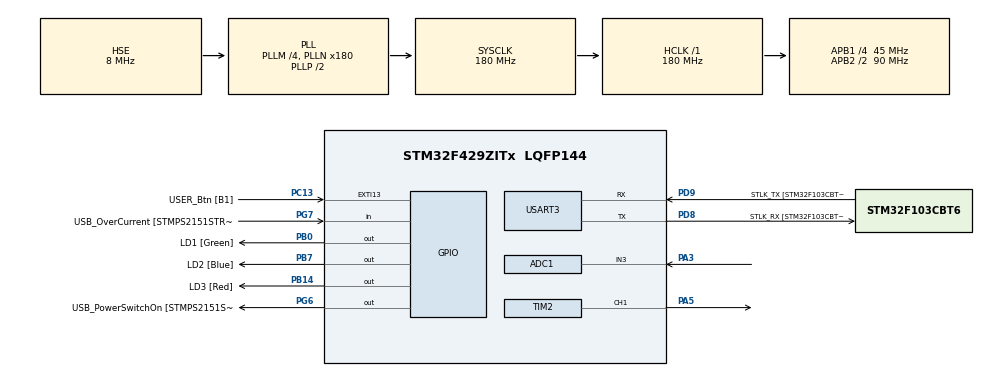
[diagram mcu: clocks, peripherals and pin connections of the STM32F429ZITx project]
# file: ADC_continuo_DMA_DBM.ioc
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ADC1.Channel-1\#ChannelRegularConversion=ADC_CHANNEL_3
ADC1.ClockPrescaler=ADC_CLOCK_SYNC_PCLK_DIV8
ADC1.ContinuousConvMode=ENABLE
ADC1.DMAContinuousRequests=ENABLE
ADC1.InjNumberOfConversion=0
ADC1.NbrOfConversion=1
ADC1.NbrOfConversionFlag=1
ADC1.Rank-1\#ChannelRegularConversion=1
ADC1.SamplingTime-1\#ChannelRegularConversion=ADC_SAMPLETIME_480CYCLES
ADC1.master=1
Dma.ADC1.0.Direction=DMA_PERIPH_TO_MEMORY
Dma.ADC1.0.FIFOMode=DMA_FIFOMODE_DISABLE
Dma.ADC1.0.Instance=DMA2_Stream0
Dma.ADC1.0.MemDataAlignment=DMA_MDATAALIGN_HALFWORD
Dma.ADC1.0.MemInc=DMA_MINC_ENABLE
Dma.ADC1.0.Mode=DMA_CIRCULAR
Dma.ADC1.0.PeriphDataAlignment=DMA_PDATAALIGN_HALFWORD
Dma.ADC1.0.PeriphInc=DMA_PINC_DISABLE
Dma.ADC1.0.Priority=DMA_PRIORITY_LOW
Dma.Request0=ADC1
Mcu.Family=STM32F4
Mcu.Name=STM32F429ZITx
Mcu.Package=LQFP144
NVIC.ADC_IRQn=true\:0\:0\:false\:false\:true\:true\:true\:true
NVIC.DMA2_Stream0_IRQn=true\:0\:0\:false\:false\:true\:false\:true\:true
NVIC.PriorityGroup=NVIC_PRIORITYGROUP_4
PA1.GPIO_Label=RMII_REF_CLK [LAN8742A-CZ-TR_REFCLK0]
PA1.Signal=ETH_REF_CLK
PA10.GPIO_Label=USB_ID
PA10.Signal=USB_OTG_FS_ID
PA11.GPIO_Label=USB_DM
PA11.Signal=USB_OTG_FS_DM
PA12.GPIO_Label=USB_DP
PA12.Signal=USB_OTG_FS_DP
PA13.GPIO_Label=TMS
PA13.Mode=Serial_Wire
PA13.Signal=SYS_JTMS-SWDIO
PA14.GPIO_Label=TCK
PA14.Mode=Serial_Wire
PA14.Signal=SYS_JTCK-SWCLK
PA2.GPIO_Label=RMII_MDIO [LAN8742A-CZ-TR_MDIO]
PA2.Signal=ETH_MDIO
PA3.Signal=ADCx_IN3
PA5.Signal=S_TIM2_CH1_ETR
PA7.GPIO_Label=RMII_CRS_DV [LAN8742A-CZ-TR_CRS_DV]
PA7.Signal=ETH_CRS_DV
PA8.GPIO_Label=USB_SOF [TP1]
PA8.Signal=USB_OTG_FS_SOF
PA9.GPIO_Label=USB_VBUS
PA9.Signal=USB_OTG_FS_VBUS
PB0.GPIO_Label=LD1 [Green]
PB0.Signal=GPIO_Output
PB13.GPIO_Label=RMII_TXD1 [LAN8742A-CZ-TR_TXD1]
PB13.Signal=ETH_TXD1
PB14.GPIO_Label=LD3 [Red]
PB14.Signal=GPIO_Output
PB7.GPIO_Label=LD2 [Blue]
PB7.Signal=GPIO_Output
PC1.GPIO_Label=RMII_MDC [LAN8742A-CZ-TR_MDC]
PC1.Signal=ETH_MDC
PC13.GPIO_Label=USER_Btn [B1]
PC13.Signal=GPXTI13
PC14/OSC32_IN.Mode=LSE-External-Oscillator
PC14/OSC32_IN.Signal=RCC_OSC32_IN
PC15/OSC32_OUT.Mode=LSE-External-Oscillator
PC15/OSC32_OUT.Signal=RCC_OSC32_OUT
PC4.GPIO_Label=RMII_RXD0 [LAN8742A-CZ-TR_RXD0]
PC4.Signal=ETH_RXD0
PC5.GPIO_Label=RMII_RXD1 [LAN8742A-CZ-TR_RXD1]
PC5.Signal=ETH_RXD1
PD8.GPIO_Label=STLK_RX [STM32F103CBT6_PA3]
PD8.Mode=Asynchronous
PD8.Signal=USART3_TX
PD9.GPIO_Label=STLK_TX [STM32F103CBT6_PA2]
PD9.Mode=Asynchronous
PD9.Signal=USART3_RX
PG11.GPIO_Label=RMII_TX_EN [LAN8742A-CZ-TR_TXEN]
PG11.Signal=ETH_TX_EN
PG13.GPIO_Label=RMII_TXD0 [LAN8742A-CZ-TR_TXD0]
PG13.Signal=ETH_TXD0
PG6.GPIO_Label=USB_PowerSwitchOn [STMPS2151STR_EN]
PG6.Signal=GPIO_Output
PG7.GPIO_Label=USB_OverCurrent [STMPS2151STR_FAULT]
PG7.Signal=GPIO_Input
PH0/OSC_IN.GPIO_Label=MCO [STM32F103CBT6_PA8]
PH0/OSC_IN.Mode=HSE-External-Oscillator
PH0/OSC_IN.Signal=RCC_OSC_IN
PH1/OSC_OUT.Mode=HSE-External-Oscillator
PH1/OSC_OUT.Signal=RCC_OSC_OUT
ProjectManager.HeapSize=0x200
ProjectManager.StackSize=0x400
ProjectManager.TargetToolchain=STM32CubeIDE
RCC.48MHZClocksFreq_Value=51428571.428571425
RCC.AHBFreq_Value=180000000
RCC.APB1CLKDivider=RCC_HCLK_DIV4
RCC.APB1Freq_Value=45000000
RCC.APB1TimFreq_Value=90000000
RCC.APB2CLKDivider=RCC_HCLK_DIV2
RCC.APB2Freq_Value=90000000
RCC.APB2TimCLKDivider=2
RCC.APB2TimFreq_Value=180000000
RCC.CortexFreq_Value=180000000
RCC.HCLKFreq_Value=180000000
RCC.HSE_VALUE=8000000
RCC.HSI_VALUE=16000000
RCC.PLLM=4
RCC.PLLMUL=RCC_PLL_MUL9
RCC.PLLN=180
RCC.PLLQ=7
RCC.PLLSourceVirtual=RCC_PLLSOURCE_HSE
RCC.PRESCALERUSB=RCC_USBCLKSOURCE_PLL_DIV1_5
RCC.SYSCLKFreq_VALUE=180000000
RCC.SYSCLKSource=RCC_SYSCLKSOURCE_PLLCLK
RCC.SYSCLKSourceVirtual=RCC_SYSCLKSOURCE_PLLCLK
RCC.USBFreq_Value=48000000
RCC.VCOOutputFreq_Value=360000000
SH.ADCx_IN3.0=ADC1_IN3,IN3
SH.S_TIM2_CH1_ETR.0=TIM2_CH1,PWM Generation1 CH1
TIM2.AutoReloadPreload=TIM_AUTORELOAD_PRELOAD_ENABLE
TIM2.Channel-PWM\ Generation1\ CH1=TIM_CHANNEL_1
TIM2.Period=65535
TIM2.Prescaler=1
USART3.VirtualMode=VM_ASYNC
VP_TIM2_VS_ClockSourceINT.Mode=Internal
board=NUCLEO-F429ZI

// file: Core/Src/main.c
/* USER CODE BEGIN Header */
/**
  ******************************************************************************
  * @file           : main.c
  * @brief          : Ejemplo de ADC continuo solicitado por encuesta
  *                   (No veo diferencia entre continuo y único)
  ******************************************************************************
  *
  * El ejemplo se desarrolló en base a:
  * https://deepbluembedded.com/stm32-adc-read-example-dma-interrupt-polling/
  *
  ******************************************************************************
  */
/* USER CODE END Header */
#include "main.h"

/* USER CODE BEGIN Includes */
#include "uOSAL.h"

/* USER CODE END Includes */

/* USER CODE BEGIN PM */
#define DELTA    1000
#define MUESTRAS 100

/* USER CODE END PM */

ADC_HandleTypeDef hadc1;
DMA_HandleTypeDef hdma_adc1;

TIM_HandleTypeDef htim2;

UART_HandleTypeDef huart3;

/* USER CODE BEGIN PV */
uint16_t AD_RES [MUESTRAS] = {0};

/* USER CODE END PV */

void SystemClock_Config(void);
static void MX_GPIO_Init(void);
static void MX_DMA_Init(void);
static void MX_USART3_UART_Init(void);
static void MX_ADC1_Init(void);
static void MX_TIM2_Init(void);

int main(void)
{

  /* MCU Configuration--------------------------------------------------------*/

  /* Reset of all peripherals, Initializes the Flash interface and the Systick. */
  HAL_Init();

  /* Configure the system clock */
  SystemClock_Config();

  /* Initialize all configured peripherals */
  MX_GPIO_Init();
  MX_DMA_Init();
  MX_USART3_UART_Init();
  MX_ADC1_Init();
  MX_TIM2_Init();
  /* USER CODE BEGIN 2 */
  //-----------------------------------------------------------------------------------------------
  uint32_t Tiempo_ms = uOSALmiliseg ();
  uartInit();

  GPIO_InitTypeDef  GPIO_InitStruct;
  GPIO_InitStruct.Pin = GPIO_PIN_0;
  GPIO_InitStruct.Mode = GPIO_MODE_OUTPUT_PP;
  GPIO_InitStruct.Pull = GPIO_NOPULL;
  GPIO_InitStruct.Speed = GPIO_SPEED_FAST;
  HAL_GPIO_Init(GPIOA, &GPIO_InitStruct);

  HAL_TIM_PWM_Start(&htim2, TIM_CHANNEL_1);
  HAL_ADC_Start_DMA(&hadc1, (uint32_t *) AD_RES, MUESTRAS);  // Inicia la conversión continua del ADC

  //-----------------------------------------------------------------------------------------------
  /* USER CODE END 2 */

  /* Infinite loop */
  while (1)
  {

    /* USER CODE BEGIN 3 */
	//---------------------------------------------------------------------------------------------

	// Evalúo si envío a UART
	if (uOSALmiliseg ()-Tiempo_ms > DELTA) {
		Tiempo_ms += DELTA;
		uEscribirTexto ("\n\rLectura: \n\r");

		int j=0;
		for (int i=0; i<MUESTRAS; i++) {
			if (j>=10) {
				uEscribirTexto ("\n\r");
				j=0;
			}
			uEscribirEnteroSS ( AD_RES[i] & 0xFFFF );
			uEscribirTexto ("; ");
			j++;
		}
		uEscribirTexto ("\n\r");
	}

  }
  //-----------------------------------------------------------------------------------------------
  /* USER CODE END 3 */
}

void SystemClock_Config(void)
{
  RCC_OscInitTypeDef RCC_OscInitStruct = {0};
  RCC_ClkInitTypeDef RCC_ClkInitStruct = {0};

  /** Configure the main internal regulator output voltage
  */
  __HAL_RCC_PWR_CLK_ENABLE();
  __HAL_PWR_VOLTAGESCALING_CONFIG(PWR_REGULATOR_VOLTAGE_SCALE1);

  /** Initializes the RCC Oscillators according to the specified parameters
  * in the RCC_OscInitTypeDef structure.
  */
  RCC_OscInitStruct.OscillatorType = RCC_OSCILLATORTYPE_HSE;
  RCC_OscInitStruct.HSEState = RCC_HSE_ON;
  RCC_OscInitStruct.PLL.PLLState = RCC_PLL_ON;
  RCC_OscInitStruct.PLL.PLLSource = RCC_PLLSOURCE_HSE;
  RCC_OscInitStruct.PLL.PLLM = 4;
  RCC_OscInitStruct.PLL.PLLN = 180;
  RCC_OscInitStruct.PLL.PLLP = RCC_PLLP_DIV2;
  RCC_OscInitStruct.PLL.PLLQ = 7;
  if (HAL_RCC_OscConfig(&RCC_OscInitStruct) != HAL_OK)
  {
    Error_Handler();
  }

  /** Activate the Over-Drive mode
  */
  if (HAL_PWREx_EnableOverDrive() != HAL_OK)
  {
    Error_Handler();
  }

  /** Initializes the CPU, AHB and APB buses clocks
  */
  RCC_ClkInitStruct.ClockType = RCC_CLOCKTYPE_HCLK|RCC_CLOCKTYPE_SYSCLK
                              |RCC_CLOCKTYPE_PCLK1|RCC_CLOCKTYPE_PCLK2;
  RCC_ClkInitStruct.SYSCLKSource = RCC_SYSCLKSOURCE_PLLCLK;
  RCC_ClkInitStruct.AHBCLKDivider = RCC_SYSCLK_DIV1;
  RCC_ClkInitStruct.APB1CLKDivider = RCC_HCLK_DIV4;
  RCC_ClkInitStruct.APB2CLKDivider = RCC_HCLK_DIV2;

  if (HAL_RCC_ClockConfig(&RCC_ClkInitStruct, FLASH_LATENCY_5) != HAL_OK)
  {
    Error_Handler();
  }
}

static void MX_ADC1_Init(void)
{

  ADC_ChannelConfTypeDef sConfig = {0};

  /** Configure the global features of the ADC (Clock, Resolution, Data Alignment and number of conversion)
  */
  hadc1.Instance = ADC1;
  hadc1.Init.ClockPrescaler = ADC_CLOCK_SYNC_PCLK_DIV8;
  hadc1.Init.Resolution = ADC_RESOLUTION_12B;
  hadc1.Init.ScanConvMode = DISABLE;
  hadc1.Init.ContinuousConvMode = ENABLE;
  hadc1.Init.DiscontinuousConvMode = DISABLE;
  hadc1.Init.ExternalTrigConvEdge = ADC_EXTERNALTRIGCONVEDGE_NONE;
  hadc1.Init.ExternalTrigConv = ADC_SOFTWARE_START;
  hadc1.Init.DataAlign = ADC_DATAALIGN_RIGHT;
  hadc1.Init.NbrOfConversion = 1;
  hadc1.Init.DMAContinuousRequests = ENABLE;
  hadc1.Init.EOCSelection = ADC_EOC_SINGLE_CONV;
  if (HAL_ADC_Init(&hadc1) != HAL_OK)
  {
    Error_Handler();
  }

  /** Configure for the selected ADC regular channel its corresponding rank in the sequencer and its sample time.
  */
  sConfig.Channel = ADC_CHANNEL_3;
  sConfig.Rank = 1;
  sConfig.SamplingTime = ADC_SAMPLETIME_480CYCLES;
  if (HAL_ADC_ConfigChannel(&hadc1, &sConfig) != HAL_OK)
  {
    Error_Handler();
  }

}

static void MX_TIM2_Init(void)
{

  TIM_ClockConfigTypeDef sClockSourceConfig = {0};
  TIM_MasterConfigTypeDef sMasterConfig = {0};
  TIM_OC_InitTypeDef sConfigOC = {0};

  htim2.Instance = TIM2;
  htim2.Init.Prescaler = 1;
  htim2.Init.CounterMode = TIM_COUNTERMODE_UP;
  htim2.Init.Period = 65535;
  htim2.Init.ClockDivision = TIM_CLOCKDIVISION_DIV1;
  htim2.Init.AutoReloadPreload = TIM_AUTORELOAD_PRELOAD_ENABLE;
  if (HAL_TIM_Base_Init(&htim2) != HAL_OK)
  {
    Error_Handler();
  }
  sClockSourceConfig.ClockSource = TIM_CLOCKSOURCE_INTERNAL;
  if (HAL_TIM_ConfigClockSource(&htim2, &sClockSourceConfig) != HAL_OK)
  {
    Error_Handler();
  }
  if (HAL_TIM_PWM_Init(&htim2) != HAL_OK)
  {
    Error_Handler();
  }
  sMasterConfig.MasterOutputTrigger = TIM_TRGO_RESET;
  sMasterConfig.MasterSlaveMode = TIM_MASTERSLAVEMODE_DISABLE;
  if (HAL_TIMEx_MasterConfigSynchronization(&htim2, &sMasterConfig) != HAL_OK)
  {
    Error_Handler();
  }
  sConfigOC.OCMode = TIM_OCMODE_PWM1;
  sConfigOC.Pulse = 0;
  sConfigOC.OCPolarity = TIM_OCPOLARITY_HIGH;
  sConfigOC.OCFastMode = TIM_OCFAST_DISABLE;
  if (HAL_TIM_PWM_ConfigChannel(&htim2, &sConfigOC, TIM_CHANNEL_1) != HAL_OK)
  {
    Error_Handler();
  }
  HAL_TIM_MspPostInit(&htim2);

}

static void MX_USART3_UART_Init(void)
{

  huart3.Instance = USART3;
  huart3.Init.BaudRate = 115200;
  huart3.Init.WordLength = UART_WORDLENGTH_8B;
  huart3.Init.StopBits = UART_STOPBITS_1;
  huart3.Init.Parity = UART_PARITY_NONE;
  huart3.Init.Mode = UART_MODE_TX_RX;
  huart3.Init.HwFlowCtl = UART_HWCONTROL_NONE;
  huart3.Init.OverSampling = UART_OVERSAMPLING_16;
  if (HAL_UART_Init(&huart3) != HAL_OK)
  {
    Error_Handler();
  }

}

static void MX_DMA_Init(void)
{

  /* DMA controller clock enable */
  __HAL_RCC_DMA2_CLK_ENABLE();

  /* DMA interrupt init */
  /* DMA2_Stream0_IRQn interrupt configuration */
  HAL_NVIC_SetPriority(DMA2_Stream0_IRQn, 0, 0);
  HAL_NVIC_EnableIRQ(DMA2_Stream0_IRQn);

}

static void MX_GPIO_Init(void)
{
  GPIO_InitTypeDef GPIO_InitStruct = {0};

  /* GPIO Ports Clock Enable */
  __HAL_RCC_GPIOC_CLK_ENABLE();
  __HAL_RCC_GPIOH_CLK_ENABLE();
  __HAL_RCC_GPIOA_CLK_ENABLE();
  __HAL_RCC_GPIOB_CLK_ENABLE();
  __HAL_RCC_GPIOD_CLK_ENABLE();
  __HAL_RCC_GPIOG_CLK_ENABLE();

  /*Configure GPIO pin Output Level */
  HAL_GPIO_WritePin(GPIOB, LD1_Pin|LD3_Pin|LD2_Pin, GPIO_PIN_RESET);

  /*Configure GPIO pin Output Level */
  HAL_GPIO_WritePin(USB_PowerSwitchOn_GPIO_Port, USB_PowerSwitchOn_Pin, GPIO_PIN_RESET);

  /*Configure GPIO pin : USER_Btn_Pin */
  GPIO_InitStruct.Pin = USER_Btn_Pin;
  GPIO_InitStruct.Mode = GPIO_MODE_IT_RISING;
  GPIO_InitStruct.Pull = GPIO_NOPULL;
  HAL_GPIO_Init(USER_Btn_GPIO_Port, &GPIO_InitStruct);

  /*Configure GPIO pins : RMII_MDC_Pin RMII_RXD0_Pin RMII_RXD1_Pin */
  GPIO_InitStruct.Pin = RMII_MDC_Pin|RMII_RXD0_Pin|RMII_RXD1_Pin;
  GPIO_InitStruct.Mode = GPIO_MODE_AF_PP;
  GPIO_InitStruct.Pull = GPIO_NOPULL;
  GPIO_InitStruct.Speed = GPIO_SPEED_FREQ_VERY_HIGH;
  GPIO_InitStruct.Alternate = GPIO_AF11_ETH;
  HAL_GPIO_Init(GPIOC, &GPIO_InitStruct);

  /*Configure GPIO pins : RMII_REF_CLK_Pin RMII_MDIO_Pin RMII_CRS_DV_Pin */
  GPIO_InitStruct.Pin = RMII_REF_CLK_Pin|RMII_MDIO_Pin|RMII_CRS_DV_Pin;
  GPIO_InitStruct.Mode = GPIO_MODE_AF_PP;
  GPIO_InitStruct.Pull = GPIO_NOPULL;
  GPIO_InitStruct.Speed = GPIO_SPEED_FREQ_VERY_HIGH;
  GPIO_InitStruct.Alternate = GPIO_AF11_ETH;
  HAL_GPIO_Init(GPIOA, &GPIO_InitStruct);

  /*Configure GPIO pins : LD1_Pin LD3_Pin LD2_Pin */
  GPIO_InitStruct.Pin = LD1_Pin|LD3_Pin|LD2_Pin;
  GPIO_InitStruct.Mode = GPIO_MODE_OUTPUT_PP;
  GPIO_InitStruct.Pull = GPIO_NOPULL;
  GPIO_InitStruct.Speed = GPIO_SPEED_FREQ_LOW;
  HAL_GPIO_Init(GPIOB, &GPIO_InitStruct);

  /*Configure GPIO pin : RMII_TXD1_Pin */
  GPIO_InitStruct.Pin = RMII_TXD1_Pin;
  GPIO_InitStruct.Mode = GPIO_MODE_AF_PP;
  GPIO_InitStruct.Pull = GPIO_NOPULL;
  GPIO_InitStruct.Speed = GPIO_SPEED_FREQ_VERY_HIGH;
  GPIO_InitStruct.Alternate = GPIO_AF11_ETH;
  HAL_GPIO_Init(RMII_TXD1_GPIO_Port, &GPIO_InitStruct);

  /*Configure GPIO pin : USB_PowerSwitchOn_Pin */
  GPIO_InitStruct.Pin = USB_PowerSwitchOn_Pin;
  GPIO_InitStruct.Mode = GPIO_MODE_OUTPUT_PP;
  GPIO_InitStruct.Pull = GPIO_NOPULL;
  GPIO_InitStruct.Speed = GPIO_SPEED_FREQ_LOW;
  HAL_GPIO_Init(USB_PowerSwitchOn_GPIO_Port, &GPIO_InitStruct);

  /*Configure GPIO pin : USB_OverCurrent_Pin */
  GPIO_InitStruct.Pin = USB_OverCurrent_Pin;
  GPIO_InitStruct.Mode = GPIO_MODE_INPUT;
  GPIO_InitStruct.Pull = GPIO_NOPULL;
  HAL_GPIO_Init(USB_OverCurrent_GPIO_Port, &GPIO_InitStruct);

  /*Configure GPIO pins : USB_SOF_Pin USB_ID_Pin USB_DM_Pin USB_DP_Pin */
  GPIO_InitStruct.Pin = USB_SOF_Pin|USB_ID_Pin|USB_DM_Pin|USB_DP_Pin;
  GPIO_InitStruct.Mode = GPIO_MODE_AF_PP;
  GPIO_InitStruct.Pull = GPIO_NOPULL;
  GPIO_InitStruct.Speed = GPIO_SPEED_FREQ_VERY_HIGH;
  GPIO_InitStruct.Alternate = GPIO_AF10_OTG_FS;
  HAL_GPIO_Init(GPIOA, &GPIO_InitStruct);

  /*Configure GPIO pin : USB_VBUS_Pin */
  GPIO_InitStruct.Pin = USB_VBUS_Pin;
  GPIO_InitStruct.Mode = GPIO_MODE_INPUT;
  GPIO_InitStruct.Pull = GPIO_NOPULL;
  HAL_GPIO_Init(USB_VBUS_GPIO_Port, &GPIO_InitStruct);

  /*Configure GPIO pins : RMII_TX_EN_Pin RMII_TXD0_Pin */
  GPIO_InitStruct.Pin = RMII_TX_EN_Pin|RMII_TXD0_Pin;
  GPIO_InitStruct.Mode = GPIO_MODE_AF_PP;
  GPIO_InitStruct.Pull = GPIO_NOPULL;
  GPIO_InitStruct.Speed = GPIO_SPEED_FREQ_VERY_HIGH;
  GPIO_InitStruct.Alternate = GPIO_AF11_ETH;
  HAL_GPIO_Init(GPIOG, &GPIO_InitStruct);

}

/* USER CODE BEGIN 4 */

void HAL_ADC_ConvCpltCallback(ADC_HandleTypeDef* hadc)
{
	HAL_GPIO_WritePin(GPIOA, GPIO_PIN_0, GPIO_PIN_SET);
	// for (int i=0; i< 0x6FF; i++) { 		}
	TIM2->CCR1 = ( (AD_RES[0] & 0xFFFF) <<4 );
	HAL_GPIO_WritePin(GPIOA, GPIO_PIN_0, GPIO_PIN_RESET);

}

/* USER CODE END 4 */

void Error_Handler(void)
{
  __disable_irq();
  while (1)
  {
  }
}
